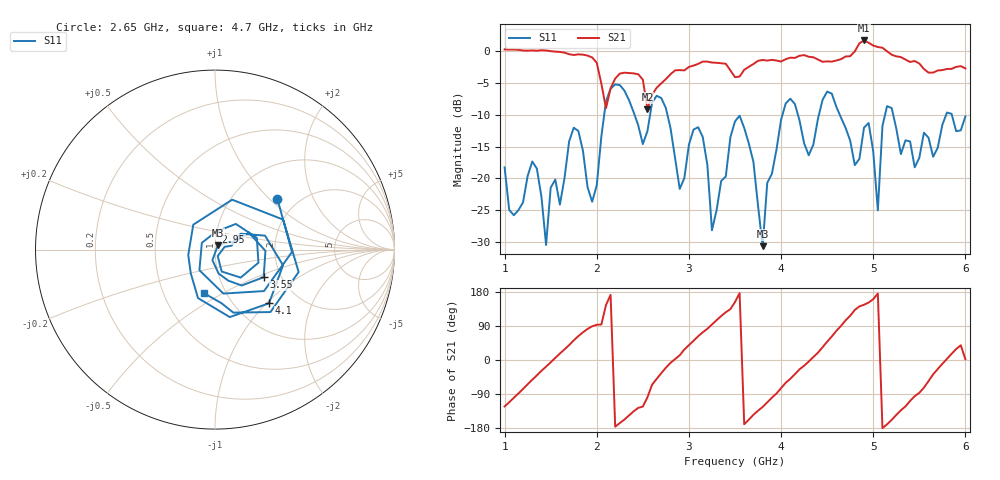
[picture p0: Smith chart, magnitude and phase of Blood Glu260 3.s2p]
! NanoVNA-App
! Date: 2024-03-21 17:47:46
! Start: 1GHz Stop: 6GHz Points: 101
! S-Parameter data: F S11 S21 S12 S22
# Hz S RI R 50
!	Frequency	S11_Real	S11_Imag	S21_Real	S21_Imag	S12_Real	S12_Imag	S22_Real	S22_Imag
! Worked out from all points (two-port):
!   101 points, 1 GHz to 6 GHz, reference 50 ohm
!   highest |S21| = 1.73 dB at 4.9 GHz (marker M1); lowest = -9.1 dB at 2.55 GHz (marker M2)
!   |S21| within 3 dB of the highest: start of sweep to 1.969 GHz; 4.639 GHz to 5.348 GHz (709.5 MHz wide, 14.2 % of centre)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
!   lowest |S11| = -30.7 dB at 3.8 GHz (marker M3), VSWR 1.06, Z = 51.6 + j2.5 ohm
!   |S11| at or under -10 dB: start of sweep to 2.081 GHz; 2.767 GHz to 4.015 GHz (1.248 GHz wide, 36.8 % of centre); 5.217 GHz to 5.79 GHz (573.6 MHz wide, 10.4 % of centre)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
!   S12 and S22 are empty: the file has one direction only
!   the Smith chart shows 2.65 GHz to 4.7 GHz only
!   S11 on the Smith chart (normalised r, x): 2.65 GHz: 1.59, +1.11; 2.95 GHz: 0.99, +0.20; 3.55 GHz: 1.63, -0.55; 4.1 GHz: 1.42, -1.03; 4.7 GHz: 0.79, -0.41
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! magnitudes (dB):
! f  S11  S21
! 1 GHz  -18.3  0.3
! 1.35 GHz  -18.5  0.1
! 1.45 GHz  -30.5  0.2
! 1.85 GHz  -15.6  -0.5
! 2.2 GHz  -5.2  -4.3
! 2.55 GHz  -12.5  -9.1
! 2.65 GHz  -7.0  -5.7
! 2.7 GHz  -7.3  -5.0
! 2.95 GHz  -20.0  -3.0
! 3.1 GHz  -11.9  -2.0
! 3.25 GHz  -28.2  -1.7
! 3.5 GHz  -11.0  -4.1
! 3.55 GHz  -10.1  -4.0
! 3.8 GHz  -30.7  -1.3
! 4.1 GHz  -7.4  -1.0
! 4.35 GHz  -14.7  -0.9
! 4.7 GHz  -12.0  -0.8
! 4.9 GHz  -12.0  1.7
! 5.05 GHz  -25.1  0.7
! 5.2 GHz  -8.9  -0.5
! 5.45 GHz  -18.3  -1.5
! 6 GHz  -10.3  -2.7
